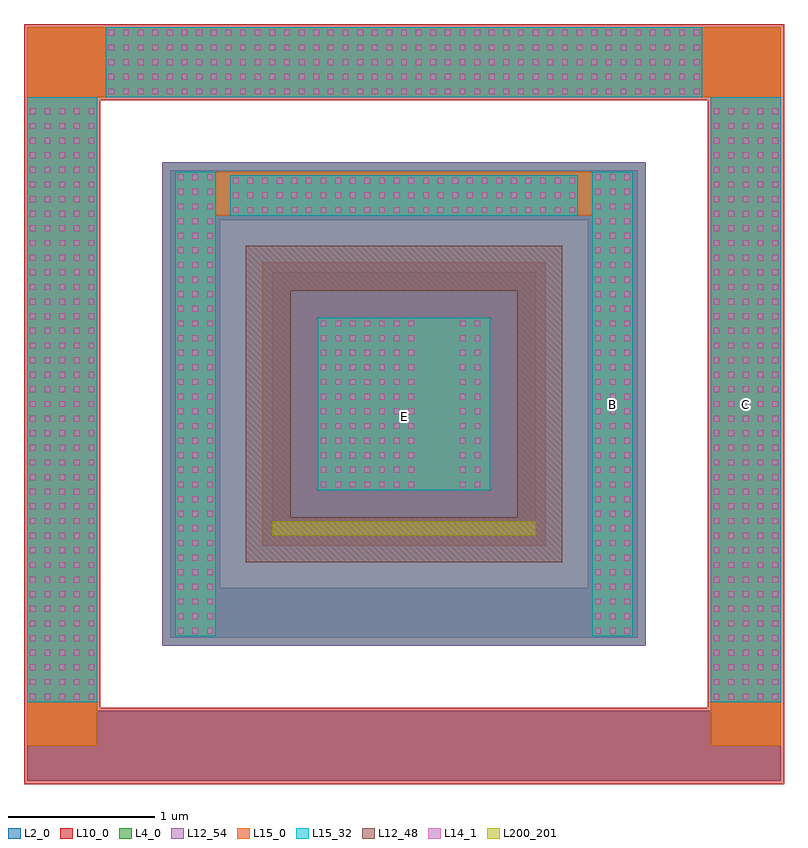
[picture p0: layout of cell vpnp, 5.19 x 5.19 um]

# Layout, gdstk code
import gdstk
lib = gdstk.Library(unit=1e-6, precision=1e-09)
def R(c, l, rs):  # rectangles x0, y0, x1, y1
    for r in rs: c.add(gdstk.rectangle(r[:2], r[2:], *l))
def A(c, l, x, y, w, h, nx, ny, dx, dy):  # array of equal rectangles
    R(c, l, [(x+i*dx, y+j*dy, x+i*dx+w, y+j*dy+h) for i in range(nx) for j in range(ny)])
L2_0 = (2, 0)
L4_0 = (4, 0)
L10_0 = (10, 0)
L12_48 = (12, 48)
L12_54 = (12, 54)
L14_1 = (14, 1)
L15_0 = (15, 0)
L15_32 = (15, 32)
L200_201 = (200, 201)

vpnp = lib.new_cell('vpnp')
R(vpnp, L2_0, [(-9.079,-1.109,-3.927,-0.629), (-9.079,-0.629,-8.599,3.563), (-4.407,-0.629,-3.927,3.563), (-8.099,-0.129,-4.907,0.211), (-8.099,0.211,-7.759,2.723), (-5.247,0.211,-4.907,2.723), (-7.403,0.567,-5.603,2.367), (-8.099,2.723,-4.907,3.063), (-9.079,3.563,-3.927,4.043)])
R(vpnp, L4_0, [(-8.155,-0.185,-4.851,3.119)])
R(vpnp, L10_0, [(-9.1,-1.13,-3.906,-0.608), (-9.1,-0.608,-8.578,3.542), (-4.428,-0.608,-3.906,3.542), (-7.473,0.497,-5.533,2.437), (-9.1,3.542,-3.906,4.064)])
R(vpnp, L12_48, [(-7.584,0.386,-5.422,0.692), (-7.584,0.692,-7.278,2.242), (-5.728,0.692,-5.422,2.242), (-7.584,2.242,-5.422,2.548)])
R(vpnp, L12_54, [(-8.155,-0.185,-4.851,3.119)])
A(vpnp, L14_1, -9.059, -0.553, 0.04, 0.04, 5, 41, 0.1, 0.1)
A(vpnp, L14_1, -4.387, -0.553, 0.04, 0.04, 5, 41, 0.1, 0.1)
A(vpnp, L14_1, -8.049, -0.103, 0.04, 0.04, 3, 32, 0.1, 0.1)
A(vpnp, L14_1, -5.197, -0.103, 0.04, 0.04, 3, 32, 0.1, 0.1)
A(vpnp, L14_1, -7.073, 0.897, 0.04, 0.04, 7, 12, 0.1, 0.1)
A(vpnp, L14_1, -6.121, 0.897, 0.04, 0.04, 1, 12, 0, 0.1)
A(vpnp, L14_1, -6.021, 0.897, 0.04, 0.04, 1, 12, 0, 0.1)
A(vpnp, L14_1, -7.673, 2.773, 0.04, 0.04, 24, 3, 0.1, 0.1)
A(vpnp, L14_1, -8.523, 3.583, 0.04, 0.04, 41, 5, 0.1, 0.1)
R(vpnp, L15_0, [(-9.077,-0.869,-8.601,4.041), (-4.405,-0.869,-3.929,4.041), (-8.067,-0.121,-7.791,3.055), (-5.215,-0.121,-4.939,3.055), (-7.091,0.879,-5.915,2.055), (-7.791,2.755,-5.215,3.055), (-8.601,3.565,-4.405,4.041)])
R(vpnp, L15_32, [(-9.077,-0.571,-8.601,3.565), (-4.405,-0.571,-3.929,3.565), (-8.067,-0.121,-7.791,3.055), (-5.215,-0.121,-4.939,3.055), (-7.091,0.879,-5.915,2.055), (-7.691,2.755,-5.315,3.031), (-8.541,3.565,-4.465,4.041)])
R(vpnp, L200_201, [(-7.403,0.567,-5.603,0.667)])
vpnp.add(gdstk.Label('E', (-6.503,1.379), layer=15, texttype=20))
vpnp.add(gdstk.Label('B', (-5.077,1.467), layer=15, texttype=20))
vpnp.add(gdstk.Label('C', (-4.167,1.467), layer=15, texttype=20))

lib.write_gds('vpnp.gds')
